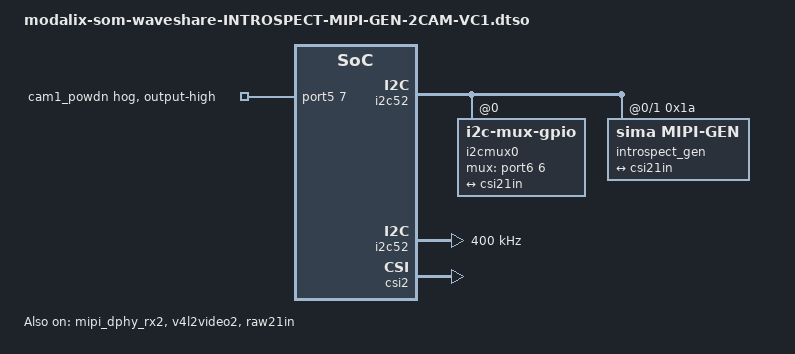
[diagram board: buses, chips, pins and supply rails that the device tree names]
// SPDX-License-Identifier: (GPL-2.0+ OR MIT)
/*
 * Copyright (c) 2026 SiMa ai
 *
 * cam1 overlay for the Introspect Technology SV3C-DPTX MIPI generator -
 * VC1 test variant.
 *
 * Identical to modalix-som-waveshare-INTROSPECT-MIPI-GEN-2CAM.dtso except:
 *   - the generator's single physical link is repointed from csi20in (VC0)
 *     to csi21in (VC1), since this is one physical device/cable and can
 *     only be linked to whichever sink pad matches the VC its packets are
 *     actually tagged with.
 *   - sima,virtual-channel = <1> is set on the generator's endpoint, so
 *     introspect_mipi_generator.c's .get_frame_desc reports VC1 instead of
 *     the VC0 default - this MUST match whatever Pinetree's
 *     csiImagePattern.virtualChannel is actually set to for this run.
 *   - v4l2video2's VC1 capture node (raw21in) is enabled; VC0's (raw20in)
 *     is left at its base-dtsi default (enabled) since it's harmless with
 *     no link feeding it - not disabled here to keep this diff minimal.
 *
 * Depends on:
 *   - dwc-mipi-csi2.c's async-registration-loop fix (loops over all 4 VC
 *     sink ports instead of only port 0) - without it, csi21in's
 *     remote-endpoint below is never looked up at all.
 *   - introspect_mipi_generator.c's sima,virtual-channel property support.
 *
 * Confirmed generator-side config this overlay must match (Introspect
 * Pinetree, SV3C_4L6G_MIPI_DPHY_GENERATOR) - same as the VC0 overlay,
 * except virtualChannel:
 *   - dataLanes        = [1, 2]        -> data-lanes = <1 2> below
 *   - continuousClock  = True          -> clock-continuous; below
 *   - mipiClockConfig2.dataRate = 900.0 (Mbps/lane) -> link-frequencies
 *     = 450000000 below
 *   - virtualChannel   = 1             -> VC1 (this is the field being
 *     tested here - set csiImagePattern.virtualChannel = 1 in Pinetree)
 *   - imageFormat      = CSI_RAW8, rawFormatBayerCell = RGGB
 */

/dts-v1/;
/plugin/;

&{/} {
	xclk20: xclk20 {
		status = "okay";
		compatible = "fixed-clock";
		#clock-cells = <0>;
		clock-frequency = <24000000>;
	};

	i2cmux0: i2cmux@0 {
		compatible = "i2c-mux-gpio";
		i2c-parent = <&i2c52>;
		#address-cells = <1>;
		#size-cells = <0>;
		/* Set port6 gpio6 to GPIO_ACTIVE_LOW mode */
		mux-gpios = <&port6 6 0>;
		i2cmux0p1: i2c@1 {
		    reg = <1>;
		    #address-cells = <1>;
		    #size-cells = <0>;
		};
	};
};

&port5 {
	cam-hog1 {
		gpio-hog;
		/* Set port5 gpio7 to GPIO_ACTIVE_HIGH mode */
		gpios = <7 0>;
		output-high;
		line-name = "cam1_powdn";
	};
};

&i2c52 {
    status = "okay";
    clock-frequency = <400000>;
    #address-cells = <1>;
    #size-cells = <0>;
};

&csi2 {
    status = "okay";
};

&axi_vdma2 {
    status = "okay";
};

&mipi_dphy_rx2 {
    status = "okay";
};

&v4l2video2 {
    status = "okay";
};

&v4l2vdma2 {
    status = "okay";
};

/* VC1's video capture node (disabled by default in the base dtsi) */
&raw21in {
    status = "okay";
};

/* Generator now wired to VC1's sink pad, not VC0's csi20in. */
&csi21in {
    clock-lanes = <0>;
    data-lanes = <1 2>;
    link-frequencies = /bits/ 64 <450000000>;
    remote-endpoint = <&cam21out>;
    clock-continuous;
};

&i2cmux0p1 {
	introspect_gen: introspect_gen@1a {
		/*
		 * compatible = "sima,mipi-gen" - see the VC0 overlay's
		 * identity-decision comment for the full reasoning; unchanged
		 * here.
		 */
		compatible = "sima,mipi-gen";
		reg = <0x1a>;

		clocks = <&xclk20>;
		clock-names = "xclk";

		port@1 {
			cam21out: endpoint@0 {
				clock-lanes = <0>;
				data-lanes = <1 2>;
				link-frequencies = /bits/ 64 <450000000>;
				remote-endpoint = <&csi21in>;
				clock-continuous;
				/*
				 * Must match Pinetree's
				 * csiImagePattern.virtualChannel for this
				 * run. Read by introspect_mipi_generator.c's
				 * check_hwcfg(); defaults to 0 if omitted.
				 */
				sima,virtual-channel = <1>;
			};
		};
	};
};
